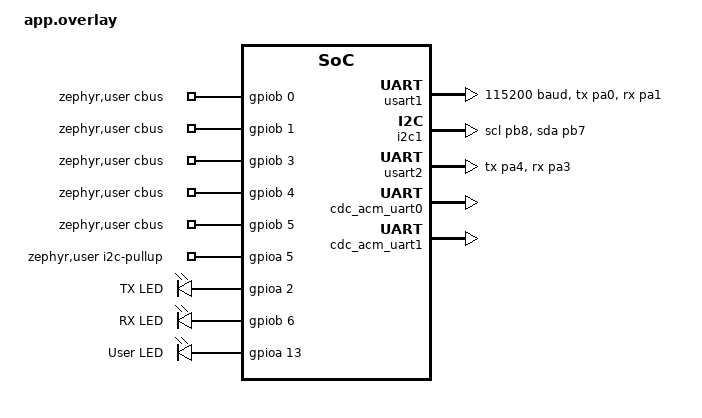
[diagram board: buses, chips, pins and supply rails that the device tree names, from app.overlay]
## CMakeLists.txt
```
# Copyright (c) Arduino s.r.l. and/or its affiliated companies
# SPDX-License-Identifier: Apache-2.0

cmake_minimum_required(VERSION 3.20.0)
find_package(Zephyr REQUIRED HINTS $ENV{ZEPHYR_BASE})
project(cdc_acm_bridge)

#include(${ZEPHYR_BASE}/samples/subsys/usb/common/common.cmake)
FILE(GLOB app_sources src/*.c)
target_sources(app PRIVATE ${app_sources})
```

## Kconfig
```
# Copyright 2025 Google LLC
# Copyright (c) Arduino s.r.l. and/or its affiliated companies
# SPDX-License-Identifier: Apache-2.0

# Source common USB sample options used to initialize new experimental USB
# device stack. The scope of these options is limited to USB samples in project
# tree, you cannot use them in your own application.
source "samples/subsys/usb/common/Kconfig.sample_usbd"

source "Kconfig.zephyr"
```

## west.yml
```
# Copyright (c) 2022 Dhruva Gole <goledhruva@gmail.com>
# Copyright (c) Arduino s.r.l. and/or its affiliated companies
# SPDX-License-Identifier: Apache-2.0

# NOTE: This is created to be used for CI/CD workflow. So use it only
# if you are in the zephyrproject directory or else things may break.

manifest:
  self:
    path: app

  remotes:
    - name: zephyrproject-rtos
      url-base: https://github.com/zephyrproject-rtos
    - name: arduino
      url-base: https://github.com/arduino

  projects:
    - name: zephyr
      remote: arduino
      revision: bughopper
      import:
        name-allowlist:
          - cmsis
          - cmsis_6
          - hal_stm32
```

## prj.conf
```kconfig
# Copyright (c) Arduino s.r.l. and/or its affiliated companies
# SPDX-License-Identifier: Apache-2.0

CONFIG_UART_CONSOLE=n

CONFIG_USB_DEVICE_STACK_NEXT=y

CONFIG_SERIAL=y
CONFIG_UART_LINE_CTRL=y
CONFIG_UART_USE_RUNTIME_CONFIGURE=y
CONFIG_USBD_CDC_ACM_CLASS=y
CONFIG_USBD_HID_SUPPORT=y
CONFIG_USBD_HID_SET_POLLING_PERIOD=y
CONFIG_CDC_ACM_SERIAL_INITIALIZE_AT_BOOT=n

CONFIG_SAMPLE_USBD_VID=0x2341
CONFIG_SAMPLE_USBD_PID=0xb001
CONFIG_SAMPLE_USBD_PRODUCT="BugHopper"
CONFIG_SAMPLE_USBD_MANUFACTURER="Arduino"

CONFIG_GPIO=y
CONFIG_SHELL=n
CONFIG_FLASH=y
CONFIG_REBOOT=y

CONFIG_I2C=y
CONFIG_LED=y
CONFIG_LED_GPIO=y
```

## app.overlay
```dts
/*
 * Copyright 2025 Google LLC
 *
 * Copyright (c) Arduino s.r.l. and/or its affiliated companies
 * SPDX-License-Identifier: Apache-2.0
 */

&spi1 {
	status = "disabled";
};

&usart1 {
	pinctrl-0 = <&usart1_tx_pa0 &usart1_rx_pa1>;
	pinctrl-names = "default";
	current-speed = <115200>;
	status = "okay";
};

/* If in use, set PA5 to OUTPUT_HIGH as pullup */
&i2c1 {
	pinctrl-0 = <&i2c1_scl_pb8 &i2c1_sda_pb7>;
	pinctrl-names = "default";
	status = "okay";
	zephyr,deferred-init;
};

/* If in use, set PA5 to INPUT */
&usart2 {
	pinctrl-0 = <&usart2_tx_pa4 &usart2_rx_pa3>;
	pinctrl-names = "default";
	status = "okay";
	zephyr,deferred-init;
};

&zephyr_udc0 {
	cdc_acm_uart0: cdc_acm_uart0 {
		compatible = "zephyr,cdc-acm-uart";
		label = "Linux console";
	};

	cdc_acm_uart1: cdc_acm_uart1 {
		compatible = "zephyr,cdc-acm-uart";
		label = "MCU debug";
	};
};

/ {
	uart-bridge0 {
		compatible = "zephyr,uart-bridge";
		peers = <&cdc_acm_uart0 &usart1>;
		activity-leds = <&led_tx>, <&led_rx>;
	};

	uart-bridge1 {
		compatible = "zephyr,uart-bridge";
		peers = <&cdc_acm_uart1 &usart2>;
		status = "okay";
		zephyr,deferred-init;
	};

	chosen {
		zephyr,i2c = &i2c1;
	};

	aliases {
		led0 = &user_led;
	};

	zephyr,user {
		cbus-gpios =
			<&gpiob 0 GPIO_ACTIVE_HIGH>,
			<&gpiob 1 GPIO_ACTIVE_HIGH>,
			<&gpiob 3 GPIO_ACTIVE_HIGH>,
			<&gpiob 4 GPIO_ACTIVE_HIGH>,
			<&gpiob 5 GPIO_ACTIVE_HIGH>;
		i2c-pullup-gpios = <&gpioa 5 GPIO_ACTIVE_HIGH>;
	};

	leds: leds {
		compatible = "gpio-leds";

		led_tx: led-tx {
			gpios = <&gpioa 2 GPIO_ACTIVE_HIGH>;
			label = "TX LED";
		};
		led_rx: led-rx {
			gpios = <&gpiob 6 GPIO_ACTIVE_HIGH>;
			label = "RX LED";
		};
		user_led: user-led {
			gpios = <&gpioa 13 GPIO_ACTIVE_HIGH>;
			label = "User LED";
		};

	};

	hid_dev_0: hid_dev_0 {
		compatible = "zephyr,hid-device";
		label = "HID0";
		protocol-code = "none";
		in-report-size = <64>;
		in-polling-period-us = <1000>;
		out-report-size = <64>;
		out-polling-period-us = <1000>;
	};
};
```

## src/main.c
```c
/*
 * Copyright 2025 Google LLC
 *
 * Copyright (c) Arduino s.r.l. and/or its affiliated companies
 * SPDX-License-Identifier: Apache-2.0
 */

#include <stdio.h>
#include <string.h>
#include <zephyr/device.h>
#include <zephyr/drivers/uart/uart_bridge.h>
#include <zephyr/usb/class/usbd_hid.h>
#include <zephyr/kernel.h>
#include <zephyr/drivers/gpio.h>
#include <zephyr/drivers/led.h>
#include <zephyr/drivers/i2c.h>
#include <zephyr/drivers/flash.h>
#include <zephyr/sys/reboot.h>

#include <zephyr/usb/usb_device.h>
#include <zephyr/usb/usbd.h>
#include <zephyr/logging/log.h>
LOG_MODULE_REGISTER(cdc_acm_bridge, LOG_LEVEL_INF);

struct usbd_context *usbd_init_device(struct usbd_context *ctx, usbd_msg_cb_t msg_cb, const char *const blocklist[]);

static const char *const blocklist_dual_cdc[] = {
	"dfu_dfu",
};

static const char *const blocklist_std[] = {
	"dfu_dfu",
	"cdc_acm_1",
};

USBD_DEVICE_DEFINE(normal_usbd,
		   DEVICE_DT_GET(DT_NODELABEL(zephyr_udc0)),
		   CONFIG_SAMPLE_USBD_VID, CONFIG_SAMPLE_USBD_PID);

USBD_DEVICE_DEFINE(dual_cdc_usbd,
		   DEVICE_DT_GET(DT_NODELABEL(zephyr_udc0)),
		   CONFIG_SAMPLE_USBD_VID, CONFIG_SAMPLE_USBD_PID);

#define DEVICE_DT_GET_COMMA(node_id) DEVICE_DT_GET(node_id),

const struct device *uart_bridges[] = {
	DT_FOREACH_STATUS_OKAY(zephyr_uart_bridge, DEVICE_DT_GET_COMMA)
};

static void sample_msg_cb(struct usbd_context *const ctx, const struct usbd_msg *msg)
{
	LOG_INF("USBD message: %s", usbd_msg_type_string(msg->type));

	if (usbd_can_detect_vbus(ctx)) {
		if (msg->type == USBD_MSG_VBUS_READY) {
			if (usbd_enable(ctx)) {
				LOG_ERR("Failed to enable device support");
			}
		}

		if (msg->type == USBD_MSG_VBUS_REMOVED) {
			if (usbd_disable(ctx)) {
				LOG_ERR("Failed to disable device support");
			}
		}
	}

	if (msg->type == USBD_MSG_CDC_ACM_LINE_CODING ||
	    msg->type == USBD_MSG_CDC_ACM_CONTROL_LINE_STATE) {
		for (uint8_t i = 0; i < ARRAY_SIZE(uart_bridges); i++) {
			/* update all bridges, non valid combinations are
			 * skipped automatically.
			 */
			uart_bridge_settings_update(msg->dev, uart_bridges[i]);
		}
	}
}

static const struct gpio_dt_spec gpios[DT_PROP_LEN(DT_PATH(zephyr_user), cbus_gpios)] = {
	DT_FOREACH_PROP_ELEM_SEP(
	DT_PATH(zephyr_user), cbus_gpios, GPIO_DT_SPEC_GET_BY_IDX, (, ))
};

static void led_set(uint8_t state) {
	static const struct gpio_dt_spec led = GPIO_DT_SPEC_GET(DT_ALIAS(led0), gpios);
	gpio_pin_set_dt(&led, state);
}

__ramfunc static inline void jump_to_rom_bootloader(void)
{
	const struct device *flash_device = DEVICE_DT_GET(DT_CHOSEN(zephyr_flash_controller));
	if (!device_is_ready(flash_device)) {
		printk("%s: device not ready.\n", flash_device->name);
		return;
	}

	/* erase flash content */
	flash_erase(flash_device, 0, 128);
	sys_reboot(SYS_REBOOT_COLD);
}

#define CMD_GPIO_SET 			0x01
#define CMD_I2C_MODE 			0x02
#define CMD_SECONDARY_UART_MODE	0x03
#define CMD_I2C_READ 			0x04
#define CMD_I2C_WRITE 			0x05
#define CMD_USER_LED	 		0x06
#define CMD_REBOOT_BL	 		0xD1

K_MSGQ_DEFINE(i2c_msgq, 256, 2, 1);

static int get_report_cb(const struct device *dev, const uint8_t type, const uint8_t id, const uint16_t len,
			 uint8_t *const buf) {

	return 0;
}

const struct device *i2c_dev = DEVICE_DT_GET(DT_NODELABEL(i2c1));

static const struct gpio_dt_spec pullup_gpios[DT_PROP_LEN(DT_PATH(zephyr_user), i2c_pullup_gpios)] = {
	DT_FOREACH_PROP_ELEM_SEP(
	DT_PATH(zephyr_user), i2c_pullup_gpios, GPIO_DT_SPEC_GET_BY_IDX, (, ))
};

static int set_report_cb(const struct device *dev, const uint8_t type, const uint8_t id, const uint16_t len,
			 const uint8_t *const buf) {

	uint8_t cmd = buf[0];

	// Only valid for I2C read and write commands
	uint8_t address = buf[1];
	uint8_t length = buf[2];
	uint8_t tmp[length];

	switch (cmd)	{
	case CMD_GPIO_SET:
		for (unsigned int i = 0; i < ARRAY_SIZE(gpios); i++) {
			if ((gpios[i].port == NULL) || ((buf[2] & BIT(i)) == 0)) {
				continue;
			}

			(void)gpio_pin_set_dt(&gpios[i], buf[1] & BIT(i));
		}
		break;
	case CMD_REBOOT_BL:
		jump_to_rom_bootloader();
		break;
	case CMD_I2C_MODE:
		// set PA5 as OUTPUT_HIGH
		// enable device i2c1
		gpio_pin_configure_dt(&pullup_gpios[0], GPIO_OUTPUT_HIGH);
		device_init(i2c_dev);
		break;
	case CMD_SECONDARY_UART_MODE:
		// set PA5 as INPUT
		gpio_pin_configure_dt(&pullup_gpios[0], GPIO_INPUT);
		// enable device usart2, cdc_acm_uart1 and uart_bridges[1]
		device_init(DEVICE_DT_GET(DT_NODELABEL(usart2)));
		device_init(uart_bridges[1]);
		// restart USB stack
		usbd_disable(&normal_usbd);
		usbd_shutdown(&normal_usbd);
		struct usbd_context *dual_cdc_ctx = usbd_init_device(&dual_cdc_usbd, sample_msg_cb, blocklist_dual_cdc);
		usbd_enable(&dual_cdc_usbd);
		break;
	case CMD_I2C_READ:
		// execute a read on specified address, populate get_report buf with the read data
		i2c_read(i2c_dev, &tmp[1], length, address);
		tmp[0]= length;
		k_msgq_put(&i2c_msgq, tmp, K_NO_WAIT);
		break;
	case CMD_I2C_WRITE:
		// execute a write on specified address
		i2c_write(i2c_dev, &buf[3], length, address);
		break;
	case CMD_USER_LED:
		led_set(buf[1]);
		break;
	default:
		break;
	}

    return 0;
}

static void output_report(const struct device *dev, const uint16_t len,
			     const uint8_t *const buf)
{
	set_report_cb(dev, HID_REPORT_TYPE_OUTPUT, 0U, len, buf);
}

static struct hid_device_ops ops = {
	.get_report = get_report_cb,
	.set_report = set_report_cb,
	.output_report = output_report,
};

#define HID_USAGE_PAGE16(page, page2)                                                              \
    HID_ITEM(HID_ITEM_TAG_USAGE_PAGE, HID_ITEM_TYPE_GLOBAL, 2), page, page2

#define HID_USAGE_PAGE16_SINGLE(a) HID_USAGE_PAGE16((a & 0xFF), ((a >> 8) & 0xFF))

static const uint8_t hid_report_desc[] = {
    HID_USAGE_PAGE16_SINGLE(0xFF60),
    HID_USAGE(0x61),

    HID_COLLECTION(0x01),

    HID_LOGICAL_MIN8(0x00),
    HID_LOGICAL_MAX16(0xFF, 0x00),
    HID_REPORT_SIZE(0x08),
    HID_REPORT_COUNT(32),

    HID_USAGE(0x01),
    HID_INPUT(0x00),

    HID_USAGE(0x02),
    HID_OUTPUT(0x00),

    HID_END_COLLECTION,
};

int main(void)
{
	int err;

	const struct device *hid_dev;
	hid_dev = DEVICE_DT_GET_ONE(zephyr_hid_device);
	if (!device_is_ready(hid_dev)) {
		LOG_ERR("HID Device is not ready");
		return -EIO;
	}

	err = hid_device_register(hid_dev,
				  hid_report_desc, sizeof(hid_report_desc),
				  &ops);
	if (err != 0) {
		LOG_ERR("Failed to register HID Device, %d", err);
		return err;
	}

	if (IS_ENABLED(CONFIG_USBD_HID_SET_POLLING_PERIOD)) {
		err = hid_device_set_in_polling(hid_dev, 1000);
		if (err) {
			LOG_WRN("Failed to set IN report polling period, %d", err);
		}

		err = hid_device_set_out_polling(hid_dev, 1000);
		if (err != 0 && err != -ENOTSUP) {
			LOG_WRN("Failed to set OUT report polling period, %d", err);
		}
	}

	for (int i = 0; i < ARRAY_SIZE(gpios); i++) {
		if (gpios[i].port == NULL) {
			continue;
		}

		err = gpio_pin_configure_dt(&gpios[i], GPIO_OUTPUT_INACTIVE);
		if (err) {
			LOG_ERR("Failed to configure GPIO pin %u, error %d", gpios[i].pin, err);
			return err;
		}
	}

	usbd_init_device(&normal_usbd, sample_msg_cb, blocklist_std);

	if (!usbd_can_detect_vbus(&normal_usbd)) {
		err = usbd_enable(&normal_usbd);
		if (err) {
			LOG_ERR("Failed to enable device support");
			return err;
		}
	}

	LOG_INF("USB device support enabled");

	while (true) {
		UDC_STATIC_BUF_DEFINE(report, 256);
		k_msgq_get(&i2c_msgq, &report, K_FOREVER);
		hid_device_submit_report(hid_dev, report[0], &report[1]);
	}

	return 0;
}
```

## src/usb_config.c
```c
/*
 * Copyright (c) 2023 Nordic Semiconductor ASA
 *
 * Copyright (c) Arduino s.r.l. and/or its affiliated companies
 * SPDX-License-Identifier: Apache-2.0
 */

#include <stdint.h>

#include <zephyr/device.h>
#include <zephyr/usb/usbd.h>
#include <zephyr/usb/bos.h>

#include <zephyr/logging/log.h>
LOG_MODULE_REGISTER(usbd_sample_config);

/* doc device instantiation start */
/*
 * Instantiate a context named sample_usbd using the default USB device
 * controller, the Zephyr project vendor ID, and the sample product ID.
 * Zephyr project vendor ID must not be used outside of Zephyr samples.
 */


/* doc device instantiation end */

/* doc string instantiation start */
USBD_DESC_LANG_DEFINE(sample_lang);
USBD_DESC_MANUFACTURER_DEFINE(sample_mfr, CONFIG_SAMPLE_USBD_MANUFACTURER);
USBD_DESC_PRODUCT_DEFINE(sample_product, CONFIG_SAMPLE_USBD_PRODUCT);
IF_ENABLED(CONFIG_HWINFO, (USBD_DESC_SERIAL_NUMBER_DEFINE(sample_sn)));

/* doc string instantiation end */

USBD_DESC_CONFIG_DEFINE(fs_cfg_desc, "FS Configuration");
USBD_DESC_CONFIG_DEFINE(hs_cfg_desc, "HS Configuration");

/* doc configuration instantiation start */
static const uint8_t attributes = (IS_ENABLED(CONFIG_SAMPLE_USBD_SELF_POWERED) ?
				   USB_SCD_SELF_POWERED : 0) |
				  (IS_ENABLED(CONFIG_SAMPLE_USBD_REMOTE_WAKEUP) ?
				   USB_SCD_REMOTE_WAKEUP : 0);

/* Full speed configuration */
USBD_CONFIGURATION_DEFINE(sample_fs_config,
			  attributes,
			  CONFIG_SAMPLE_USBD_MAX_POWER, &fs_cfg_desc);

/* High speed configuration */
USBD_CONFIGURATION_DEFINE(sample_hs_config,
			  attributes,
			  CONFIG_SAMPLE_USBD_MAX_POWER, &hs_cfg_desc);
/* doc configuration instantiation end */

#if CONFIG_SAMPLE_USBD_20_EXTENSION_DESC
/*
 * This does not yet provide valuable information, but rather serves as an
 * example, and will be improved in the future.
 */
static const struct usb_bos_capability_lpm bos_cap_lpm = {
	.bLength = sizeof(struct usb_bos_capability_lpm),
	.bDescriptorType = USB_DESC_DEVICE_CAPABILITY,
	.bDevCapabilityType = USB_BOS_CAPABILITY_EXTENSION,
	.bmAttributes = 0UL,
};

USBD_DESC_BOS_DEFINE(sample_usbext, sizeof(bos_cap_lpm), &bos_cap_lpm);
#endif

static void sample_fix_code_triple(struct usbd_context *uds_ctx,
				   const enum usbd_speed speed)
{
	/* Always use class code information from Interface Descriptors */
	if (IS_ENABLED(CONFIG_USBD_CDC_ACM_CLASS) ||
	    IS_ENABLED(CONFIG_USBD_CDC_ECM_CLASS) ||
	    IS_ENABLED(CONFIG_USBD_CDC_NCM_CLASS) ||
	    IS_ENABLED(CONFIG_USBD_MIDI2_CLASS) ||
	    IS_ENABLED(CONFIG_USBD_AUDIO2_CLASS) ||
	    IS_ENABLED(CONFIG_USBD_VIDEO_CLASS)) {
		/*
		 * Class with multiple interfaces have an Interface
		 * Association Descriptor available, use an appropriate triple
		 * to indicate it.
		 */
		usbd_device_set_code_triple(uds_ctx, speed,
					    USB_BCC_MISCELLANEOUS, 0x02, 0x01);
	} else {
		usbd_device_set_code_triple(uds_ctx, speed, 0, 0, 0);
	}
}

struct usbd_context *usbd_setup_device(struct usbd_context *ctx, usbd_msg_cb_t msg_cb, const char *const _blocklist[])
{
	int err;

	/* doc add string descriptor start */
	err = usbd_add_descriptor(ctx, &sample_lang);
	if (err) {
		LOG_ERR("Failed to initialize language descriptor (%d)", err);
		return NULL;
	}

	err = usbd_add_descriptor(ctx, &sample_mfr);
	if (err) {
		LOG_ERR("Failed to initialize manufacturer descriptor (%d)", err);
		return NULL;
	}

	err = usbd_add_descriptor(ctx, &sample_product);
	if (err) {
		LOG_ERR("Failed to initialize product descriptor (%d)", err);
		return NULL;
	}

	IF_ENABLED(CONFIG_HWINFO, (
		err = usbd_add_descriptor(ctx, &sample_sn);
	))
	if (err) {
		LOG_ERR("Failed to initialize SN descriptor (%d)", err);
		return NULL;
	}
	/* doc add string descriptor end */

	if (USBD_SUPPORTS_HIGH_SPEED &&
	    usbd_caps_speed(ctx) == USBD_SPEED_HS) {
		err = usbd_add_configuration(ctx, USBD_SPEED_HS,
					     &sample_hs_config);
		if (err) {
			LOG_ERR("Failed to add High-Speed configuration");
			return NULL;
		}

		err = usbd_register_all_classes(ctx, USBD_SPEED_HS, 1,
						_blocklist);
		if (err) {
			LOG_ERR("Failed to add register classes");
			return NULL;
		}

		sample_fix_code_triple(ctx, USBD_SPEED_HS);
	}

	/* doc configuration register start */
	err = usbd_add_configuration(ctx, USBD_SPEED_FS,
				     &sample_fs_config);
	if (err) {
		LOG_ERR("Failed to add Full-Speed configuration");
		return NULL;
	}
	/* doc configuration register end */

	/* doc functions register start */
	err = usbd_register_all_classes(ctx, USBD_SPEED_FS, 1, _blocklist);
	if (err) {
		LOG_ERR("Failed to add register classes");
		return NULL;
	}
	/* doc functions register end */

	sample_fix_code_triple(ctx, USBD_SPEED_FS);
	usbd_self_powered(ctx, attributes & USB_SCD_SELF_POWERED);

	if (msg_cb != NULL) {
		/* doc device init-and-msg start */
		err = usbd_msg_register_cb(ctx, msg_cb);
		if (err) {
			LOG_ERR("Failed to register message callback");
			return NULL;
		}
		/* doc device init-and-msg end */
	}

#if CONFIG_SAMPLE_USBD_20_EXTENSION_DESC
	(void)usbd_device_set_bcd_usb(ctx, USBD_SPEED_FS, 0x0201);
	(void)usbd_device_set_bcd_usb(ctx, USBD_SPEED_HS, 0x0201);

	err = usbd_add_descriptor(ctx, &sample_usbext);
	if (err) {
		LOG_ERR("Failed to add USB 2.0 Extension Descriptor");
		return NULL;
	}
#endif

	return ctx;
}

struct usbd_context *usbd_init_device(struct usbd_context *ctx, usbd_msg_cb_t msg_cb, const char *const blocklist[])
{
	int err;

	if (usbd_setup_device(ctx, msg_cb, blocklist) == NULL) {
		return NULL;
	}

	/* doc device init start */
	err = usbd_init(ctx);
	if (err) {
		LOG_ERR("Failed to initialize device support");
		return NULL;
	}
	/* doc device init end */

	return ctx;
}
```
